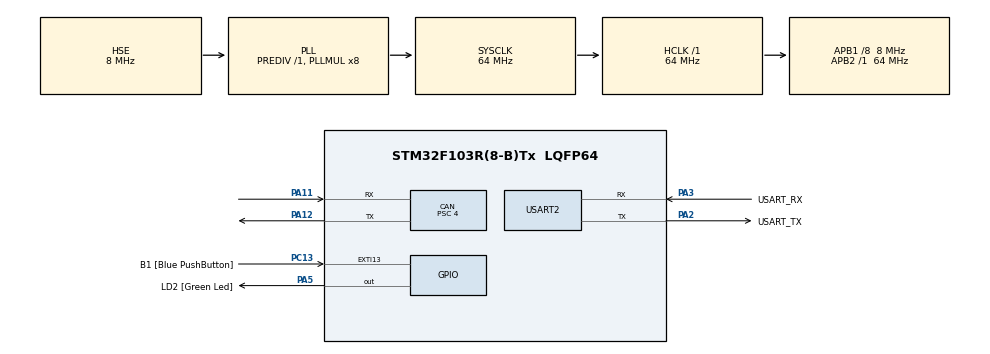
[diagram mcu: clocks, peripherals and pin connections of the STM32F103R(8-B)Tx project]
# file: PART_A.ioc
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CAN.BS1=CAN_BS1_13TQ
CAN.BS2=CAN_BS2_2TQ
CAN.CalculateBaudRate=125000
CAN.CalculateTimeBit=8000
CAN.CalculateTimeQuantum=500.0
CAN.Prescaler=4
Mcu.Family=STM32F1
Mcu.Name=STM32F103R(8-B)Tx
Mcu.Package=LQFP64
NVIC.CAN1_RX1_IRQn=true\:0\:0\:false\:false\:true\:true\:true\:true
NVIC.EXTI15_10_IRQn=true\:0\:0\:false\:false\:true\:true\:true\:true
NVIC.PriorityGroup=NVIC_PRIORITYGROUP_4
NVIC.USB_LP_CAN1_RX0_IRQn=true\:0\:0\:false\:false\:true\:true\:true\:true
PA11.Mode=CAN_Activate
PA11.Signal=CAN_RX
PA12.Mode=CAN_Activate
PA12.Signal=CAN_TX
PA13.GPIO_Label=TMS
PA13.Mode=Serial_Wire
PA13.Signal=SYS_JTMS-SWDIO
PA14.GPIO_Label=TCK
PA14.Mode=Serial_Wire
PA14.Signal=SYS_JTCK-SWCLK
PA2.GPIO_Label=USART_TX
PA2.GPIO_Mode=GPIO_MODE_AF_PP
PA2.GPIO_PuPd=GPIO_NOPULL
PA2.GPIO_Speed=GPIO_SPEED_FREQ_LOW
PA2.Mode=Asynchronous
PA2.Signal=USART2_TX
PA3.GPIO_Label=USART_RX
PA3.GPIO_Mode=GPIO_MODE_AF_PP
PA3.GPIO_PuPd=GPIO_NOPULL
PA3.GPIO_Speed=GPIO_SPEED_FREQ_LOW
PA3.Mode=Asynchronous
PA3.Signal=USART2_RX
PA5.GPIO_Label=LD2 [Green Led]
PA5.GPIO_ModeDefaultOutputPP=GPIO_MODE_OUTPUT_PP
PA5.GPIO_PuPd=GPIO_NOPULL
PA5.GPIO_Speed=GPIO_SPEED_FREQ_LOW
PA5.Signal=GPIO_Output
PB3.GPIO_Label=SWO
PB3.Signal=SYS_JTDO-TRACESWO
PC13-TAMPER-RTC.GPIO_Label=B1 [Blue PushButton]
PC13-TAMPER-RTC.GPIO_PuPd=GPIO_NOPULL
PC13-TAMPER-RTC.Signal=GPXTI13
PC14-OSC32_IN.Mode=LSE-External-Oscillator
PC14-OSC32_IN.Signal=RCC_OSC32_IN
PC15-OSC32_OUT.Mode=LSE-External-Oscillator
PC15-OSC32_OUT.Signal=RCC_OSC32_OUT
PD0-OSC_IN.Mode=HSE-External-Oscillator
PD0-OSC_IN.Signal=RCC_OSC_IN
PD1-OSC_OUT.Mode=HSE-External-Oscillator
PD1-OSC_OUT.Signal=RCC_OSC_OUT
ProjectManager.HeapSize=0x200
ProjectManager.StackSize=0x400
ProjectManager.TargetToolchain=STM32CubeIDE
RCC.AHBFreq_Value=64000000
RCC.APB1CLKDivider=RCC_HCLK_DIV8
RCC.APB1Freq_Value=8000000
RCC.APB1TimFreq_Value=16000000
RCC.APB2Freq_Value=64000000
RCC.APB2TimFreq_Value=64000000
RCC.HCLKFreq_Value=64000000
RCC.PLLMUL=RCC_PLL_MUL8
RCC.PLLSourceVirtual=RCC_PLLSOURCE_HSE
RCC.RTCClockSelection=RCC_RTCCLKSOURCE_LSE
RCC.SYSCLKFreq_VALUE=64000000
RCC.SYSCLKSource=RCC_SYSCLKSOURCE_PLLCLK
RCC.USBFreq_Value=64000000
USART2.VirtualMode=VM_ASYNC
board=NUCLEO-F103RB

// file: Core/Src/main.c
/* USER CODE BEGIN Header */
/**
  ******************************************************************************
  * @file           : main.c
  * @brief          : Main program body
  ******************************************************************************
  * @attention
  *
  * Copyright (c) 2024 STMicroelectronics.
  * All rights reserved.
  *
  * This software is licensed under terms that can be found in the LICENSE file
  * in the root directory of this software component.
  * If no LICENSE file comes with this software, it is provided AS-IS.
  *
  ******************************************************************************
  */
/* USER CODE END Header */
#include "main.h"
#include "can.h"
#include "usart.h"
#include "gpio.h"

/* USER CODE BEGIN Includes */
#include <string.h>
/* USER CODE END Includes */

/* USER CODE BEGIN PTD */
typedef void (*pFunction)(void);

typedef enum {
  FW_UPDATE_IDLE,
  FW_UPDATE_REQUESTED,
  FW_UPDATE_IN_PROGRESS,
  FW_UPDATE_COMPLETE
} FirmwareUpdateStat_t;

typedef struct {
  CAN_RxHeaderTypeDef rxHeader;
  uint8_t rxData[8];
} CAN_Message_t;
/* USER CODE END PTD */

/* USER CODE BEGIN PD */
#define APPLICATION_A_ADDRESS 0x08008000 /* Partition A address */
#define APPLICATION_B_ADDRESS 0x08014000 /* Partition B address */
#define BOOT_FLAG_ADDR BKP->DR1 /* Boot flag address */

#define NUMBER_OF_PAGES_IN_PARTITION 48 /* Number of partition pages */

#define BOOT_FLAG_A 0x01 /* Partition A flag */
#define BOOT_FLAG_B 0x02 /* Partition B flag */

#define CAN_ID_FILE 0x70 /* 112 ID of receive file data */
#define CAN_ID_SIZE 0x71 /* 113 ID of receive file size */
#define CAN_ID_SEND 0x7A /* 122 ID of send CAN message */
#define CAN_ID_CONTROL 0x7B /* 123 ID of receive control */

#define MESSAGE_BUFFER_SIZE 512
/* USER CODE END PD */

/* USER CODE BEGIN PV */
CAN_TxHeaderTypeDef TxHeader;
uint8_t TxData[8] = {0x00,};
uint8_t command[8] = {'a', 'b', 'c', 'd', 'e', 'f', 'g', 'h' }; //{0xff, 0x00, 0xff, 0x00, 0xff, 0x00, 0xff, 0x00};
uint32_t TxMailbox;

FirmwareUpdateStat_t fwUpdateState = FW_UPDATE_IDLE;
volatile uint8_t fwUpdateRequested = 0;
volatile uint8_t fwUpdateComplete = 0;
uint32_t fwUpdateAddress = 0;
uint32_t fwUpdateSize = 0;
uint32_t fwUpdateReceivedBytes = 0;
uint8_t LD2Counter = 0;
uint8_t ledState = 0;

CAN_Message_t messageBuffer[MESSAGE_BUFFER_SIZE];
volatile uint16_t messageBufferHead = 0;
volatile uint16_t messageBufferTail = 0;

CAN_TxHeaderTypeDef txHeader;
uint8_t txData[8];
uint32_t txMailbox;

uint8_t uart_rxbuf[10];
/* USER CODE END PV */

void SystemClock_Config(void);

/* USER CODE BEGIN 0 */
void SetBootFlag(void);
void NVIC_Config(void);
/* 펌웨어 업데이트 관련 함수 */
void FirmwareUpdateStateMachine(void);
void StartFirmwareUpdate(void);
void EraseFlashMemory(void);
void SendInactivePartitionAddress(void);
void SendUpdateState(void);

/* 메시지 버퍼 관리 함수 */
uint8_t MessageBufferIsFull(void);
uint8_t MessageBufferIsEmpty(void);
void MessageBufferPut(CAN_RxHeaderTypeDef *rxHeader, uint8_t *rxData);
void MessageBufferGet(CAN_RxHeaderTypeDef *rxHeader, uint8_t *rxData);

/* 추가: 펌웨어 시작 알림 함수 */
void SendFirmwareStartedMessage(void);

/* 함수 프로토타입 추가 */
void ProcessFirmwareSizeMessage(CAN_RxHeaderTypeDef *rxHeader, uint8_t *rxData);
void LD2Flip(void);
void Error_Handler(void);
/* USER CODE END 0 */

int main(void)
{

  /* MCU Configuration--------------------------------------------------------*/

  /* Reset of all peripherals, Initializes the Flash interface and the Systick. */
  HAL_Init();

  /* Configure the system clock */
  SystemClock_Config();

  /* USER CODE BEGIN SysInit */
  NVIC_Config();

  HAL_PWR_EnableBkUpAccess();
  __HAL_RCC_BKP_CLK_ENABLE();
  /* USER CODE END SysInit */

  /* Initialize all configured peripherals */
  MX_GPIO_Init();
  MX_CAN_Init();
  MX_USART2_UART_Init();
  /* USER CODE BEGIN 2 */

  if (HAL_CAN_Start(&hcan) != HAL_OK){
	  Error_Handler();
  }

  CAN_FilterTypeDef canFilterConfig;
  canFilterConfig.FilterActivation = CAN_FILTER_ENABLE;
  canFilterConfig.FilterBank = 0;
  canFilterConfig.FilterFIFOAssignment = CAN_FILTER_FIFO0;
  canFilterConfig.FilterIdHigh = 0x0000;
  canFilterConfig.FilterIdLow = 0x0000;
  canFilterConfig.FilterMaskIdHigh = 0x0000;
  canFilterConfig.FilterMaskIdLow = 0x0000;
  canFilterConfig.FilterMode = CAN_FILTERMODE_IDMASK;
  canFilterConfig.FilterScale = CAN_FILTERSCALE_32BIT;

  if (HAL_CAN_ConfigFilter(&hcan, &canFilterConfig) != HAL_OK)
  {
	  Error_Handler();
  }

  if (HAL_CAN_ActivateNotification(&hcan, CAN_IT_RX_FIFO0_MSG_PENDING) != HAL_OK){
	  Error_Handler();
  }

  SendFirmwareStartedMessage();
  TxHeader.DLC = 8;
  TxHeader.IDE = CAN_ID_STD;
  TxHeader.RTR = CAN_RTR_DATA;
  TxHeader.StdId = 0x780;
  /* USER CODE END 2 */

  /* Infinite loop */
  while (1)
  {

	if (fwUpdateState == FW_UPDATE_IDLE){
		if (HAL_CAN_AddTxMessage(&hcan, &TxHeader, TxData, &TxMailbox) != HAL_OK){
			Error_Handler();
		}

		TxData[1] += 0x11;
		TxData[4] += 0x12;
		TxData[7] += 0x13;
		HAL_Delay(100);

		LD2Counter++;
		if (LD2Counter > 5)
			LD2Flip();
	}

//	HAL_UART_Receive(&huart2, (uint8_t*)uart_rxbuf, 1, HAL_MAX_DELAY);
//	HAL_UART_Transmit(&huart2, (uint8_t*)uart_rxbuf, 1, HAL_MAX_DELAY);
//	if(uart_rxbuf[0]=='1'){
//		uart_rxbuf[0] = '0';
//		HAL_UART_Transmit(&huart2, "updateA", sizeof("updateA"), HAL_MAX_DELAY);
//		fwUpdateRequested = 1;
//		//fwUpdateAddress = APPLICATION_A_ADDRESS;
//		//BKP->DR1 = 0x01;
//	}

	FirmwareUpdateStateMachine();
  }
}

void SystemClock_Config(void)
{
  RCC_OscInitTypeDef RCC_OscInitStruct = {0};
  RCC_ClkInitTypeDef RCC_ClkInitStruct = {0};

  /** Initializes the RCC Oscillators according to the specified parameters
  * in the RCC_OscInitTypeDef structure.
  */
  RCC_OscInitStruct.OscillatorType = RCC_OSCILLATORTYPE_HSE;
  RCC_OscInitStruct.HSEState = RCC_HSE_ON;
  RCC_OscInitStruct.HSEPredivValue = RCC_HSE_PREDIV_DIV1;
  RCC_OscInitStruct.HSIState = RCC_HSI_ON;
  RCC_OscInitStruct.PLL.PLLState = RCC_PLL_ON;
  RCC_OscInitStruct.PLL.PLLSource = RCC_PLLSOURCE_HSE;
  RCC_OscInitStruct.PLL.PLLMUL = RCC_PLL_MUL8;
  if (HAL_RCC_OscConfig(&RCC_OscInitStruct) != HAL_OK)
  {
    Error_Handler();
  }

  /** Initializes the CPU, AHB and APB buses clocks
  */
  RCC_ClkInitStruct.ClockType = RCC_CLOCKTYPE_HCLK|RCC_CLOCKTYPE_SYSCLK
                              |RCC_CLOCKTYPE_PCLK1|RCC_CLOCKTYPE_PCLK2;
  RCC_ClkInitStruct.SYSCLKSource = RCC_SYSCLKSOURCE_PLLCLK;
  RCC_ClkInitStruct.AHBCLKDivider = RCC_SYSCLK_DIV1;
  RCC_ClkInitStruct.APB1CLKDivider = RCC_HCLK_DIV8;
  RCC_ClkInitStruct.APB2CLKDivider = RCC_HCLK_DIV1;

  if (HAL_RCC_ClockConfig(&RCC_ClkInitStruct, FLASH_LATENCY_2) != HAL_OK)
  {
    Error_Handler();
  }

  __HAL_RCC_AFIO_CLK_ENABLE();
  __HAL_AFIO_REMAP_SWJ_NOJTAG();
}

/* USER CODE BEGIN 4 */
void LD2Flip(void){
	if (ledState == 0)
	{
		ledState = 1;
		HAL_GPIO_WritePin(GPIOA, LD2_Pin, GPIO_PIN_SET);
	}
	else
	{
		ledState = 0;
		HAL_GPIO_WritePin(GPIOA, LD2_Pin, GPIO_PIN_RESET);
	}
	LD2Counter = 0;
}
void SetBootFlag(void){
	HAL_PWR_EnableBkUpAccess();
	__HAL_RCC_BKP_CLK_ENABLE();
	uint32_t boot_flag = BOOT_FLAG_ADDR;
	if (boot_flag == BOOT_FLAG_A)
		BOOT_FLAG_ADDR = BOOT_FLAG_B;
	else
		BOOT_FLAG_ADDR = BOOT_FLAG_A;
}

void SendFirmwareStartedMessage(void)
{

    txHeader.StdId = CAN_ID_SEND;
    txHeader.RTR = CAN_RTR_DATA;
    txHeader.IDE = CAN_ID_STD;
    txHeader.DLC = 1;

    txData[0] = 0x01; // 펌웨어 시작 알림 신호

    if (HAL_CAN_AddTxMessage(&hcan, &txHeader, txData, &txMailbox) != HAL_OK)
    {
    	Error_Handler();
    }

    while (HAL_CAN_IsTxMessagePending(&hcan, txMailbox)){

    }
}

void NVIC_Config(void)
{
    HAL_NVIC_SetPriority(USB_LP_CAN1_RX0_IRQn, 0, 0);
    HAL_NVIC_EnableIRQ(USB_LP_CAN1_RX0_IRQn);
}

void ProcessFirmwareSizeMessage(CAN_RxHeaderTypeDef *rxHeader, uint8_t *rxData)
{
    if (rxHeader->DLC == 4)
    {
        // 펌웨어 크기 수신
        fwUpdateSize = (rxData[0] << 24) | (rxData[1] << 16) | (rxData[2] << 8) | rxData[3];
    }

}

void HAL_CAN_RxFifo0MsgPendingCallback(CAN_HandleTypeDef *hcan)
{
    CAN_RxHeaderTypeDef rxHeader;
    uint8_t rxData[8];

    if (HAL_CAN_GetRxMessage(hcan, CAN_RX_FIFO0, &rxHeader, rxData) != HAL_OK)
    {
    	Error_Handler();
        return;
    }

    if (rxHeader.StdId == CAN_ID_CONTROL && fwUpdateRequested == 0)
    {

    	if (!memcmp(command, rxData, sizeof(command))){
    		fwUpdateRequested = 1;

    	}
    }
    else if (fwUpdateRequested == 1 && rxHeader.StdId == CAN_ID_SIZE)
    	ProcessFirmwareSizeMessage(&rxHeader, rxData);
    else if (fwUpdateRequested == 1 && rxHeader.StdId == CAN_ID_FILE)
    {
        MessageBufferPut(&rxHeader, rxData);
    }
}

void EraseFlashMemory(void)
{
    HAL_FLASH_Unlock();

    FLASH_EraseInitTypeDef eraseInitStruct;
    uint32_t pageError = 0;

    eraseInitStruct.TypeErase = FLASH_TYPEERASE_PAGES;
    eraseInitStruct.PageAddress = fwUpdateAddress;
    eraseInitStruct.NbPages = NUMBER_OF_PAGES_IN_PARTITION;

    if (HAL_FLASHEx_Erase(&eraseInitStruct, &pageError) != HAL_OK)
    {
        HAL_FLASH_Lock();
        fwUpdateState = FW_UPDATE_IDLE;
        NVIC_SystemReset();
    }

    HAL_FLASH_Lock();

}

void StartFirmwareUpdate(void)
{

	if (BOOT_FLAG_ADDR == BOOT_FLAG_A)
		fwUpdateAddress = APPLICATION_B_ADDRESS;
	else
		fwUpdateAddress = APPLICATION_A_ADDRESS;

    fwUpdateReceivedBytes = 0;

    EraseFlashMemory();

    SendInactivePartitionAddress();
}

void SendInactivePartitionAddress(void)
{

    txHeader.StdId = CAN_ID_SEND;
    txHeader.RTR = CAN_RTR_DATA;
    txHeader.IDE = CAN_ID_STD;
    txHeader.DLC = 4; // 주소 전송

    uint32_t targetAddress = fwUpdateAddress;

    txData[0] = (targetAddress >> 24) & 0xFF;
    txData[1] = (targetAddress >> 16) & 0xFF;
    txData[2] = (targetAddress >> 8) & 0xFF;
    txData[3] = (targetAddress) & 0xFF;

    if (HAL_CAN_AddTxMessage(&hcan, &txHeader, txData, &txMailbox) != HAL_OK)
    {
        Error_Handler();
    }
    while (HAL_CAN_IsTxMessagePending(&hcan, txMailbox)){
	}
}

void SendUpdateState(void)
{

    txHeader.StdId = CAN_ID_SEND;
    txHeader.RTR = CAN_RTR_DATA;
    txHeader.IDE = CAN_ID_STD;
    txHeader.DLC = 1;

    if (fwUpdateComplete == 1)
    	txData[0] = 0x02; // 완료 신호
    else
    	txData[0] = 0x03; // 실패 신호

    if (HAL_CAN_AddTxMessage(&hcan, &txHeader, txData, &txMailbox) != HAL_OK)
    {
        Error_Handler();
    }
    while (HAL_CAN_IsTxMessagePending(&hcan, txMailbox)){
    }
}

uint8_t MessageBufferIsFull(void)
{
    return ((messageBufferHead + 1) % MESSAGE_BUFFER_SIZE) == messageBufferTail;
}

uint8_t MessageBufferIsEmpty(void)
{
    return messageBufferHead == messageBufferTail;
}

void MessageBufferPut(CAN_RxHeaderTypeDef *rxHeader, uint8_t *rxData)
{
    if (!MessageBufferIsFull())
    {
        messageBuffer[messageBufferHead].rxHeader = *rxHeader;
        memcpy(messageBuffer[messageBufferHead].rxData, rxData, 8);
        messageBufferHead = (messageBufferHead + 1) % MESSAGE_BUFFER_SIZE;
    }
}

void MessageBufferGet(CAN_RxHeaderTypeDef *rxHeader, uint8_t *rxData)
{
    if (!MessageBufferIsEmpty())
    {
        *rxHeader = messageBuffer[messageBufferTail].rxHeader;
        memcpy(rxData, messageBuffer[messageBufferTail].rxData, 8);
        messageBufferTail = (messageBufferTail + 1) % MESSAGE_BUFFER_SIZE;
    }
}

void FirmwareUpdateStateMachine(void)
{
    switch (fwUpdateState)
    {
        case FW_UPDATE_IDLE:
            if (fwUpdateRequested)
            {
                StartFirmwareUpdate();
                fwUpdateState = FW_UPDATE_IN_PROGRESS;

            }
            break;

        case FW_UPDATE_IN_PROGRESS:
        	CAN_RxHeaderTypeDef rxHeader;
        	uint32_t currentAddress = fwUpdateAddress;
        	uint8_t rxData[8];

            while (fwUpdateSize > fwUpdateReceivedBytes)
            {
            	if(!MessageBufferIsEmpty()){
					MessageBufferGet(&rxHeader, rxData);

					uint8_t dataLength = rxHeader.DLC;

					HAL_FLASH_Unlock();

					for (uint8_t i = 0; i < dataLength; i += 2)
					{
						uint16_t data16 = rxData[i];
						if (i + 1 < dataLength)
						{
							data16 |= rxData[i + 1] << 8;
						}

						if (HAL_FLASH_Program(FLASH_TYPEPROGRAM_HALFWORD, currentAddress, data16) != HAL_OK)
						{
							HAL_FLASH_Lock();
							fwUpdateRequested = 0;
							fwUpdateState = FW_UPDATE_IDLE;
							return;
						}
						currentAddress += 2;
						fwUpdateReceivedBytes += (i + 1 < dataLength) ? 2 : 1;
					}

					txHeader.StdId = CAN_ID_SEND;
					txHeader.RTR = CAN_RTR_DATA;
					txHeader.IDE = CAN_ID_STD;
					txHeader.DLC = 4;

					uint8_t bytesReceived[4];
					bytesReceived[0] = (fwUpdateReceivedBytes >> 24) & 0xFF;
					bytesReceived[1] = (fwUpdateReceivedBytes >> 16) & 0xFF;
					bytesReceived[2] = (fwUpdateReceivedBytes >> 8) & 0xFF;
					bytesReceived[3] = fwUpdateReceivedBytes & 0xFF;

					if (HAL_CAN_AddTxMessage(&hcan, &txHeader, bytesReceived, &txMailbox) != HAL_OK)
						{
							Error_Handler();
						}
					while (HAL_CAN_IsTxMessagePending(&hcan, txMailbox)){
					}

					HAL_FLASH_Lock();
            	}
            }
            fwUpdateRequested = 0;
			if (fwUpdateReceivedBytes != fwUpdateSize)
			{
				SendUpdateState();
				fwUpdateState = FW_UPDATE_IDLE;
			}
			else{
				fwUpdateComplete = 1;
				SendUpdateState();
				fwUpdateState = FW_UPDATE_COMPLETE;
			}
			fwUpdateSize = 0;
            break;

        case FW_UPDATE_COMPLETE:
        	SetBootFlag();
			HAL_Delay(1000);
			NVIC_SystemReset();
            break;

        default:
        	fwUpdateState = FW_UPDATE_IDLE;
            break;
    }
}
/* USER CODE END 4 */

void Error_Handler(void)
{
  /* USER CODE BEGIN Error_Handler_Debug */
  /* User can add his own implementation to report the HAL error return state */
  __disable_irq();
  HAL_GPIO_WritePin(GPIOA, LD2_Pin, GPIO_PIN_SET);
  while (1)
  {
	  SetBootFlag();
	  NVIC_SystemReset();
  }
  /* USER CODE END Error_Handler_Debug */
}
